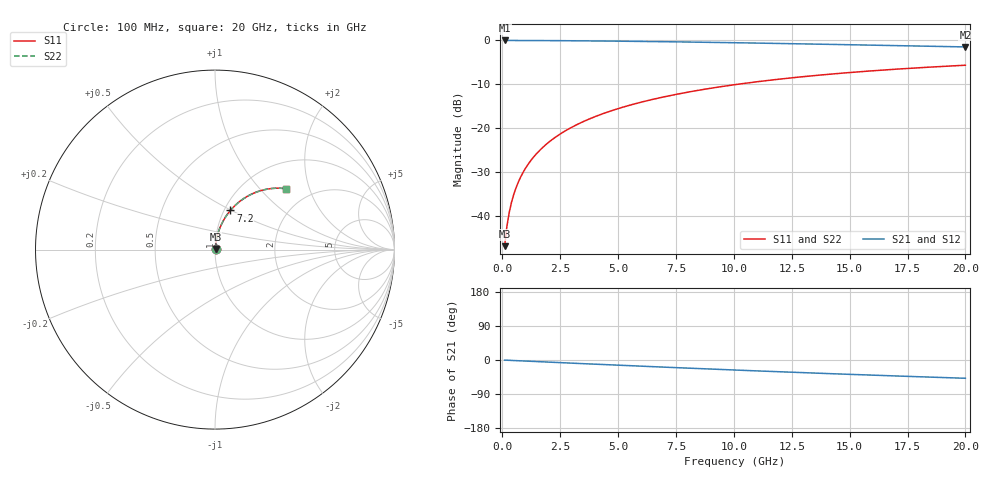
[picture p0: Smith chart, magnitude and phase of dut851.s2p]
! Touchstone file exported from HFSS 2026.1.0
!  File:  C:/ffzhzh/LocalFiles/Ansys_Project_Files/temp_train_TMRDL_851_1783156979_43440.aedt
!  Generated:  05:24:29 PM Jul  4, 2026
!  Design:  TMRDL
!  Project:  temp_train_TMRDL_851_1783156979_43440
! Variables:
!  h_bsmrdl = 2um
!  h_ox = 20um
!  h_rdl = 5um
!  h_sub = 80um
!  h_tmrdl = 5.92um
!  h_tsv = 80um
!  h_via = 3um
!  l_bsmrdl = 300um
!  l_sub = 1058.74um
!  l_tmrdl = 658.74um
!  m_sub = 200um
!  pitch = 57.78um
!  r_tsv = 6um
!  s_tmrdl = 10um
!  w_bsmrdl = 18um
!  w_sub = 500um
!  w_tmrdl = 14.2um
!  x_tsv_center1 = 665.84um
!  x_tsv_center2 = 983.84um
!  x_tsv_center3 = 1656.78um
!  x_tsv_center4 = 1974.78um
!  x_tsv_center5 = 2647.72um
!  x_tsv_center6 = 2965.72um
# GHz S MA R 50.000000
! Terminal data exported
! Port[1] = TM_RDL1_1_T1
! Port[2] = TM_RDL1_1_T2
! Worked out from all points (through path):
!   200 points, 100 MHz to 20 GHz, reference 50 ohm
!   highest |S21| = -0.02 dB at 100 MHz (marker M1); lowest = -1.5 dB at 20 GHz (marker M2)
!   group delay of S21, straight-line fit = 6.7 ps
!   lowest |S11| = -46.8 dB at 100 MHz (marker M3), VSWR 1.01, Z = 50.3 + j0.361 ohm
!   |S11| at or under -10 dB: start of sweep to 10.14 GHz
!   |S22| runs from -46.8 to -5.7 dB; largest |S21 - S12| = 7.3e-15
!   S11 on the Smith chart (normalised r, x): 100 MHz: 1.01, +0.01; 7.2 GHz: 1.07, +0.49; 20 GHz: 1.52, +1.41
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0.1  0.004584 51.5  0.9972 -0.3  0.9972 -0.3  0.004584 51.5
! Gamma 0 0 0 0
! Port Impedance 50 0 50 0
0.2  0.007734 67.3  0.9971 -0.6  0.9971 -0.6  0.007734 67.3
0.3  0.01109 73.4  0.9969 -0.9  0.9969 -0.9  0.01109 73.4
0.4  0.0145 76.6  0.9968 -1.1  0.9968 -1.1  0.0145 76.6
0.5  0.01792 78.5  0.9967 -1.4  0.9967 -1.4  0.01792 78.5
0.7  0.02479 80.4  0.9964 -2.0  0.9964 -2.0  0.02479 80.4
0.8  0.02823 81.0  0.9963 -2.3  0.9963 -2.3  0.02823 81.0
1  0.03511 81.6  0.996 -2.8  0.996 -2.8  0.03511 81.6
1.4  0.04887 81.7  0.9951 -3.9  0.9951 -3.9  0.04887 81.7
1.7  0.05914 81.4  0.9944 -4.8  0.9944 -4.8  0.05914 81.4
2  0.06936 81.0  0.9935 -5.6  0.9935 -5.6  0.06936 81.0
2.7  0.09294 79.5  0.9909 -7.5  0.9909 -7.5  0.09294 79.5
3.5  0.1194 77.7  0.9873 -9.7  0.9873 -9.7  0.1194 77.6
4.2  0.1421 75.9  0.9837 -11.6  0.9837 -11.6  0.1421 75.9
5  0.1675 74.0  0.979 -13.7  0.979 -13.7  0.1675 74.0
6.8  0.2225 69.5  0.9668 -18.4  0.9668 -18.4  0.2225 69.5
7.2  0.2344 68.6  0.9638 -19.4  0.9638 -19.4  0.2344 68.5
8.6  0.2745 65.2  0.9525 -22.9  0.9525 -22.9  0.2745 65.2
10.1  0.3152 61.6  0.9394 -26.6  0.9394 -26.6  0.3152 61.6
13.4  0.396 54.1  0.9077 -34.3  0.9077 -34.3  0.396 54.1
16.7  0.4646 47.1  0.8744 -41.5  0.8744 -41.5  0.4646 47.1
20  0.5215 40.6  0.8419 -48.2  0.8419 -48.2  0.5215 40.6
